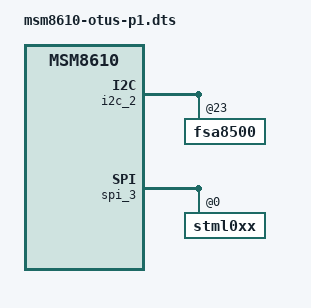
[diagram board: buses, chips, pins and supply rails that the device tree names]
/* Copyright (c) 2013, The Linux Foundation. All rights reserved.
 *
 * This program is free software; you can redistribute it and/or modify
 * it under the terms of the GNU General Public License version 2 and
 * only version 2 as published by the Free Software Foundation.
 *
 * This program is distributed in the hope that it will be useful,
 * but WITHOUT ANY WARRANTY; without even the implied warranty of
 * MERCHANTABILITY or FITNESS FOR A PARTICULAR PURPOSE.  See the
 * GNU General Public License for more details.
 */

/dts-v1/;

/include/ "msm8610-otus-common.dtsi"

/ {
	qcom,msm-id = <147 0x45 0x8100>;
};

&i2c_2 {
	fsa8500@23 {
		status = "ok";
	};
};

&spi_3 {
	stml0xx@0 {
		headset_detect_enable = <0>;
		headset_hw_version = <0>;
	};
};
